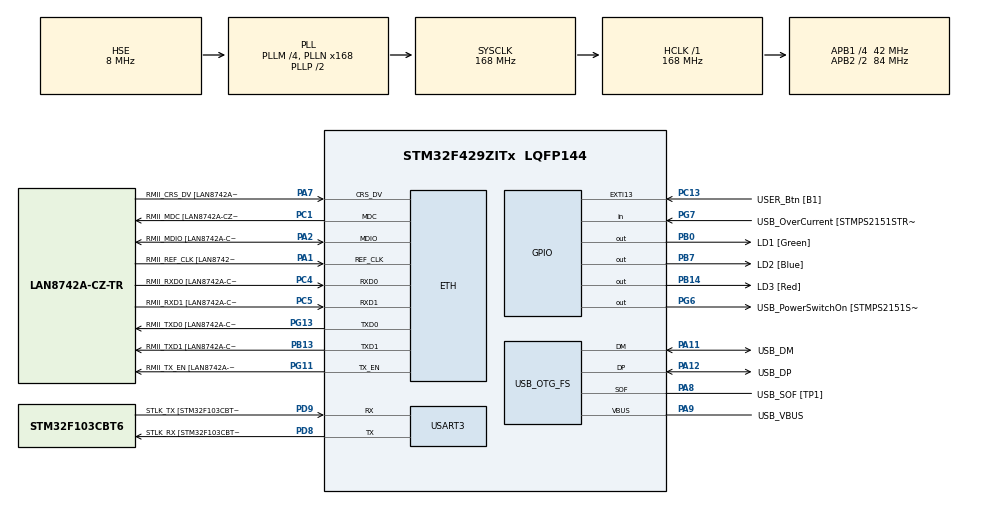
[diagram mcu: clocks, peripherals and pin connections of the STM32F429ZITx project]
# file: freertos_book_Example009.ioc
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ETH.MediaInterface=HAL_ETH_RMII_MODE
ETH.PHY_Name=LAN8742A_PHY_ADDRESS
ETH.PHY_Value=0
ETH.PhyAddress=0
FREERTOS.MEMORY_ALLOCATION=0
FREERTOS.Tasks01=defaultTask,0,128,StartDefaultTask,Default,NULL,Dynamic,NULL,NULL
FREERTOS.configUSE_NEWLIB_REENTRANT=1
Mcu.Family=STM32F4
Mcu.Name=STM32F429ZITx
Mcu.Package=LQFP144
NVIC.PriorityGroup=NVIC_PRIORITYGROUP_4
NVIC.TIM7_IRQn=true\:15\:0\:false\:false\:true\:false\:false\:true\:true
NVIC.TimeBase=TIM7_IRQn
NVIC.TimeBaseIP=TIM7
PA1.GPIO_Label=RMII_REF_CLK [LAN8742A-CZ-TR_REFCLK0]
PA1.Mode=RMII
PA1.Signal=ETH_REF_CLK
PA10.GPIO_Label=USB_ID
PA10.Signal=USB_OTG_FS_ID
PA11.GPIO_Label=USB_DM
PA11.Mode=Device_Only
PA11.Signal=USB_OTG_FS_DM
PA12.GPIO_Label=USB_DP
PA12.Mode=Device_Only
PA12.Signal=USB_OTG_FS_DP
PA13.GPIO_Label=TMS
PA13.Mode=Serial_Wire
PA13.Signal=SYS_JTMS-SWDIO
PA14.GPIO_Label=TCK
PA14.Mode=Serial_Wire
PA14.Signal=SYS_JTCK-SWCLK
PA2.GPIO_Label=RMII_MDIO [LAN8742A-CZ-TR_MDIO]
PA2.Mode=RMII
PA2.Signal=ETH_MDIO
PA7.GPIO_Label=RMII_CRS_DV [LAN8742A-CZ-TR_CRS_DV]
PA7.Mode=RMII
PA7.Signal=ETH_CRS_DV
PA8.GPIO_Label=USB_SOF [TP1]
PA8.Mode=Activate_SOF_FS
PA8.Signal=USB_OTG_FS_SOF
PA9.GPIO_Label=USB_VBUS
PA9.Mode=Activate_VBUS
PA9.Signal=USB_OTG_FS_VBUS
PB0.GPIO_Label=LD1 [Green]
PB0.Signal=GPIO_Output
PB13.GPIO_Label=RMII_TXD1 [LAN8742A-CZ-TR_TXD1]
PB13.Mode=RMII
PB13.Signal=ETH_TXD1
PB14.GPIO_Label=LD3 [Red]
PB14.Signal=GPIO_Output
PB7.GPIO_Label=LD2 [Blue]
PB7.Signal=GPIO_Output
PC1.GPIO_Label=RMII_MDC [LAN8742A-CZ-TR_MDC]
PC1.Mode=RMII
PC1.Signal=ETH_MDC
PC13.GPIO_Label=USER_Btn [B1]
PC13.Signal=GPXTI13
PC14/OSC32_IN.Mode=LSE-External-Oscillator
PC14/OSC32_IN.Signal=RCC_OSC32_IN
PC15/OSC32_OUT.Mode=LSE-External-Oscillator
PC15/OSC32_OUT.Signal=RCC_OSC32_OUT
PC4.GPIO_Label=RMII_RXD0 [LAN8742A-CZ-TR_RXD0]
PC4.Mode=RMII
PC4.Signal=ETH_RXD0
PC5.GPIO_Label=RMII_RXD1 [LAN8742A-CZ-TR_RXD1]
PC5.Mode=RMII
PC5.Signal=ETH_RXD1
PD8.GPIO_Label=STLK_RX [STM32F103CBT6_PA3]
PD8.Mode=Asynchronous
PD8.Signal=USART3_TX
PD9.GPIO_Label=STLK_TX [STM32F103CBT6_PA2]
PD9.Mode=Asynchronous
PD9.Signal=USART3_RX
PG11.GPIO_Label=RMII_TX_EN [LAN8742A-CZ-TR_TXEN]
PG11.Mode=RMII
PG11.Signal=ETH_TX_EN
PG13.GPIO_Label=RMII_TXD0 [LAN8742A-CZ-TR_TXD0]
PG13.Mode=RMII
PG13.Signal=ETH_TXD0
PG6.GPIO_Label=USB_PowerSwitchOn [STMPS2151STR_EN]
PG6.Signal=GPIO_Output
PG7.GPIO_Label=USB_OverCurrent [STMPS2151STR_FAULT]
PG7.Signal=GPIO_Input
PH0/OSC_IN.GPIO_Label=MCO [STM32F103CBT6_PA8]
PH0/OSC_IN.Mode=HSE-External-Clock-Source
PH0/OSC_IN.Signal=RCC_OSC_IN
PH1/OSC_OUT.Mode=HSE-External-Clock-Source
PH1/OSC_OUT.Signal=RCC_OSC_OUT
ProjectManager.HeapSize=0x200
ProjectManager.StackSize=0x400
ProjectManager.TargetToolchain=STM32CubeIDE
RCC.48MHZClocksFreq_Value=48000000
RCC.AHBFreq_Value=168000000
RCC.APB1CLKDivider=RCC_HCLK_DIV4
RCC.APB1Freq_Value=42000000
RCC.APB1TimFreq_Value=84000000
RCC.APB2CLKDivider=RCC_HCLK_DIV2
RCC.APB2Freq_Value=84000000
RCC.APB2TimCLKDivider=2
RCC.APB2TimFreq_Value=168000000
RCC.CortexFreq_Value=168000000
RCC.HCLKFreq_Value=168000000
RCC.HSE_VALUE=8000000
RCC.HSI_VALUE=16000000
RCC.PLLM=4
RCC.PLLMUL=RCC_PLL_MUL9
RCC.PLLN=168
RCC.PLLQ=7
RCC.PRESCALERUSB=RCC_USBCLKSOURCE_PLL_DIV1_5
RCC.SYSCLKFreq_VALUE=168000000
RCC.SYSCLKSource=RCC_SYSCLKSOURCE_PLLCLK
RCC.SYSCLKSourceVirtual=RCC_SYSCLKSOURCE_PLLCLK
RCC.USBFreq_Value=48000000
RCC.VCOOutputFreq_Value=336000000
USART3.VirtualMode=VM_ASYNC
USB_OTG_FS.VirtualMode=Device_Only
VP_FREERTOS_VS_CMSIS_V1.Mode=CMSIS_V1
VP_SYS_VS_tim7.Mode=TIM7
board=NUCLEO-F429ZI

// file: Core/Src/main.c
/* USER CODE BEGIN Header */
/**
  ******************************************************************************
  * @file           : main.c
  * @brief          : Main program body
  ******************************************************************************
  * @attention
  *
  * Copyright (c) 2022 STMicroelectronics.
  * All rights reserved.
  *
  * This software is licensed under terms that can be found in the LICENSE file
  * in the root directory of this software component.
  * If no LICENSE file comes with this software, it is provided AS-IS.
  *
  ******************************************************************************
  */
/* USER CODE END Header */
#include "main.h"
#include "string.h"
#include "cmsis_os.h"

/* USER CODE BEGIN Includes */
/* Standard includes. */
#include <stdio.h>
#include <stdlib.h>

/* Demo includes. */
#include "supportingFunctions.h"

/* USER CODE END Includes */

ETH_TxPacketConfig TxConfig;
ETH_DMADescTypeDef  DMARxDscrTab[ETH_RX_DESC_CNT]; /* Ethernet Rx DMA Descriptors */
ETH_DMADescTypeDef  DMATxDscrTab[ETH_TX_DESC_CNT]; /* Ethernet Tx DMA Descriptors */

ETH_HandleTypeDef heth;

UART_HandleTypeDef huart3;

PCD_HandleTypeDef hpcd_USB_OTG_FS;

osThreadId defaultTaskHandle;
/* USER CODE BEGIN PV */
TaskHandle_t xTask1Handle;
TaskHandle_t xTask2Handle;

/* USER CODE END PV */

void SystemClock_Config(void);
static void MX_GPIO_Init(void);
static void MX_ETH_Init(void);
static void MX_USART3_UART_Init(void);
static void MX_USB_OTG_FS_PCD_Init(void);
void StartDefaultTask(void const * argument);

/* USER CODE BEGIN PFP */
void vTask1( void *pvParameters );
void vTask2( void *pvParameters );

/* USER CODE END PFP */

/* USER CODE BEGIN 0 */
extern void initialise_monitor_handles(void);
/* USER CODE END 0 */

int main(void)
{

  /* USER CODE BEGIN 1 */
	initialise_monitor_handles();
	const char *pcTextForMain = "freertos_book_Example009 is running: Deleting tasks\r\n\n";

  /* USER CODE END 1 */

  /* MCU Configuration--------------------------------------------------------*/

  /* Reset of all peripherals, Initializes the Flash interface and the Systick. */
  HAL_Init();

  /* Configure the system clock */
  SystemClock_Config();

  /* Initialize all configured peripherals */
  MX_GPIO_Init();
  MX_ETH_Init();
  MX_USART3_UART_Init();
  MX_USB_OTG_FS_PCD_Init();
  /* USER CODE BEGIN 2 */
	/* Print out the name of this Example. */
	vPrintString( pcTextForMain );

  /* USER CODE END 2 */

  /* Create the thread(s) */
  /* definition and creation of defaultTask */
  osThreadDef(defaultTask, StartDefaultTask, osPriorityNormal, 0, 128);
  defaultTaskHandle = osThreadCreate(osThread(defaultTask), NULL);

  /* USER CODE BEGIN RTOS_THREADS */
  /* add threads, ... */
	BaseType_t ret;

	/* Task 1 thread at priority 1 */
	ret = xTaskCreate( vTask1,						/* Pointer to the function thats implement the task. */
					   "Task 1",					/* Text name for the task. This is to facilitate debugging only. */
					   (2 * configMINIMAL_STACK_SIZE),	/* Stack depth in words. 				*/
					   NULL,						/* We are not using the task parameter.		*/
					   (tskIDLE_PRIORITY + 1UL),	/* This task will run at priority 1. 		*/
		               NULL );          	        /* We are not using the task handle. */

	/* Check the task was created successfully. */
	configASSERT( ret == pdPASS );

  /* USER CODE END RTOS_THREADS */

  /* Start scheduler */
  osKernelStart();

  /* We should never get here as control is now taken by the scheduler */

  /* Infinite loop */
  while (1)
  {

  }
}

void SystemClock_Config(void)
{
  RCC_OscInitTypeDef RCC_OscInitStruct = {0};
  RCC_ClkInitTypeDef RCC_ClkInitStruct = {0};

  /** Configure the main internal regulator output voltage
  */
  __HAL_RCC_PWR_CLK_ENABLE();
  __HAL_PWR_VOLTAGESCALING_CONFIG(PWR_REGULATOR_VOLTAGE_SCALE1);

  /** Initializes the RCC Oscillators according to the specified parameters
  * in the RCC_OscInitTypeDef structure.
  */
  RCC_OscInitStruct.OscillatorType = RCC_OSCILLATORTYPE_HSE;
  RCC_OscInitStruct.HSEState = RCC_HSE_BYPASS;
  RCC_OscInitStruct.PLL.PLLState = RCC_PLL_ON;
  RCC_OscInitStruct.PLL.PLLSource = RCC_PLLSOURCE_HSE;
  RCC_OscInitStruct.PLL.PLLM = 4;
  RCC_OscInitStruct.PLL.PLLN = 168;
  RCC_OscInitStruct.PLL.PLLP = RCC_PLLP_DIV2;
  RCC_OscInitStruct.PLL.PLLQ = 7;
  if (HAL_RCC_OscConfig(&RCC_OscInitStruct) != HAL_OK)
  {
    Error_Handler();
  }

  /** Initializes the CPU, AHB and APB buses clocks
  */
  RCC_ClkInitStruct.ClockType = RCC_CLOCKTYPE_HCLK|RCC_CLOCKTYPE_SYSCLK
                              |RCC_CLOCKTYPE_PCLK1|RCC_CLOCKTYPE_PCLK2;
  RCC_ClkInitStruct.SYSCLKSource = RCC_SYSCLKSOURCE_PLLCLK;
  RCC_ClkInitStruct.AHBCLKDivider = RCC_SYSCLK_DIV1;
  RCC_ClkInitStruct.APB1CLKDivider = RCC_HCLK_DIV4;
  RCC_ClkInitStruct.APB2CLKDivider = RCC_HCLK_DIV2;

  if (HAL_RCC_ClockConfig(&RCC_ClkInitStruct, FLASH_LATENCY_5) != HAL_OK)
  {
    Error_Handler();
  }
}

static void MX_ETH_Init(void)
{

   static uint8_t MACAddr[6];

  heth.Instance = ETH;
  MACAddr[0] = 0x00;
  MACAddr[1] = 0x80;
  MACAddr[2] = 0xE1;
  MACAddr[3] = 0x00;
  MACAddr[4] = 0x00;
  MACAddr[5] = 0x00;
  heth.Init.MACAddr = &MACAddr[0];
  heth.Init.MediaInterface = HAL_ETH_RMII_MODE;
  heth.Init.TxDesc = DMATxDscrTab;
  heth.Init.RxDesc = DMARxDscrTab;
  heth.Init.RxBuffLen = 1524;

  if (HAL_ETH_Init(&heth) != HAL_OK)
  {
    Error_Handler();
  }

  memset(&TxConfig, 0 , sizeof(ETH_TxPacketConfig));
  TxConfig.Attributes = ETH_TX_PACKETS_FEATURES_CSUM | ETH_TX_PACKETS_FEATURES_CRCPAD;
  TxConfig.ChecksumCtrl = ETH_CHECKSUM_IPHDR_PAYLOAD_INSERT_PHDR_CALC;
  TxConfig.CRCPadCtrl = ETH_CRC_PAD_INSERT;

}

static void MX_USART3_UART_Init(void)
{

  huart3.Instance = USART3;
  huart3.Init.BaudRate = 115200;
  huart3.Init.WordLength = UART_WORDLENGTH_8B;
  huart3.Init.StopBits = UART_STOPBITS_1;
  huart3.Init.Parity = UART_PARITY_NONE;
  huart3.Init.Mode = UART_MODE_TX_RX;
  huart3.Init.HwFlowCtl = UART_HWCONTROL_NONE;
  huart3.Init.OverSampling = UART_OVERSAMPLING_16;
  if (HAL_UART_Init(&huart3) != HAL_OK)
  {
    Error_Handler();
  }

}

static void MX_USB_OTG_FS_PCD_Init(void)
{

  hpcd_USB_OTG_FS.Instance = USB_OTG_FS;
  hpcd_USB_OTG_FS.Init.dev_endpoints = 4;
  hpcd_USB_OTG_FS.Init.speed = PCD_SPEED_FULL;
  hpcd_USB_OTG_FS.Init.dma_enable = DISABLE;
  hpcd_USB_OTG_FS.Init.phy_itface = PCD_PHY_EMBEDDED;
  hpcd_USB_OTG_FS.Init.Sof_enable = ENABLE;
  hpcd_USB_OTG_FS.Init.low_power_enable = DISABLE;
  hpcd_USB_OTG_FS.Init.lpm_enable = DISABLE;
  hpcd_USB_OTG_FS.Init.vbus_sensing_enable = ENABLE;
  hpcd_USB_OTG_FS.Init.use_dedicated_ep1 = DISABLE;
  if (HAL_PCD_Init(&hpcd_USB_OTG_FS) != HAL_OK)
  {
    Error_Handler();
  }

}

static void MX_GPIO_Init(void)
{
  GPIO_InitTypeDef GPIO_InitStruct = {0};

  /* GPIO Ports Clock Enable */
  __HAL_RCC_GPIOC_CLK_ENABLE();
  __HAL_RCC_GPIOH_CLK_ENABLE();
  __HAL_RCC_GPIOA_CLK_ENABLE();
  __HAL_RCC_GPIOB_CLK_ENABLE();
  __HAL_RCC_GPIOD_CLK_ENABLE();
  __HAL_RCC_GPIOG_CLK_ENABLE();

  /*Configure GPIO pin Output Level */
  HAL_GPIO_WritePin(GPIOB, LD1_Pin|LD3_Pin|LD2_Pin, GPIO_PIN_RESET);

  /*Configure GPIO pin Output Level */
  HAL_GPIO_WritePin(USB_PowerSwitchOn_GPIO_Port, USB_PowerSwitchOn_Pin, GPIO_PIN_RESET);

  /*Configure GPIO pin : USER_Btn_Pin */
  GPIO_InitStruct.Pin = USER_Btn_Pin;
  GPIO_InitStruct.Mode = GPIO_MODE_IT_RISING;
  GPIO_InitStruct.Pull = GPIO_NOPULL;
  HAL_GPIO_Init(USER_Btn_GPIO_Port, &GPIO_InitStruct);

  /*Configure GPIO pins : LD1_Pin LD3_Pin LD2_Pin */
  GPIO_InitStruct.Pin = LD1_Pin|LD3_Pin|LD2_Pin;
  GPIO_InitStruct.Mode = GPIO_MODE_OUTPUT_PP;
  GPIO_InitStruct.Pull = GPIO_NOPULL;
  GPIO_InitStruct.Speed = GPIO_SPEED_FREQ_LOW;
  HAL_GPIO_Init(GPIOB, &GPIO_InitStruct);

  /*Configure GPIO pin : USB_PowerSwitchOn_Pin */
  GPIO_InitStruct.Pin = USB_PowerSwitchOn_Pin;
  GPIO_InitStruct.Mode = GPIO_MODE_OUTPUT_PP;
  GPIO_InitStruct.Pull = GPIO_NOPULL;
  GPIO_InitStruct.Speed = GPIO_SPEED_FREQ_LOW;
  HAL_GPIO_Init(USB_PowerSwitchOn_GPIO_Port, &GPIO_InitStruct);

  /*Configure GPIO pin : USB_OverCurrent_Pin */
  GPIO_InitStruct.Pin = USB_OverCurrent_Pin;
  GPIO_InitStruct.Mode = GPIO_MODE_INPUT;
  GPIO_InitStruct.Pull = GPIO_NOPULL;
  HAL_GPIO_Init(USB_OverCurrent_GPIO_Port, &GPIO_InitStruct);

}

/* USER CODE BEGIN 4 */

/* USER CODE BEGIN Header_vTask1 */
/**
  * @brief  Function implementing the Task1 thread.
  * @param  argument: Not used
  * @retval None
  */
/* USER CODE END Header_vTask1 */
void vTask1( void *pvParameters )
{
	BaseType_t ret;
	const TickType_t xDelay100ms = pdMS_TO_TICKS( 100UL );

	for( ;; )
	{
		/* Print out the name of this task. */
		vPrintString( "Task1 is running\r\n" );

		/* Create task 2 at a higher priority.  Again the task parameter is not
	       used so is set to NULL - BUT this time we want to obtain a handle to the
	       task so pass in the address of the xTask2Handle variable. */
		/* Task 2 thread at priority 2 */
		ret = xTaskCreate( vTask2,						/* Pointer to the function thats implement the task. */
			  	  	  	   "Task 2",					/* Text name for the task. This is to facilitate debugging only. */
						   (2 * configMINIMAL_STACK_SIZE),	/* Stack depth in words. 				*/
						   NULL,						/* We are not using the task parameter.		*/
						   (tskIDLE_PRIORITY + 2UL),	/* This task will run at priority 2. 		*/
						   &xTask2Handle );				/* We are using a variable as task handle.	*/

		/* Check the task was created successfully. */
		configASSERT( ret == pdPASS );

		/* Task2 has/had the higher priority, so for Task1 to reach here Task2
	       must have already executed and deleted itself.  Delay for 100
	       milliseconds. */
		vTaskDelay( xDelay100ms );

	}
}

/* USER CODE BEGIN Header_vTask2 */
/**
  * @brief  Function implementing the Task2 thread.
  * @param  argument: Not used
  * @retval None
  */
/* USER CODE END Header_vTask2 */
void vTask2( void *pvParameters )
{
	   /* Task2 does nothing but delete itself.  To do this it could call vTaskDelete()
	   using a NULL parameter, but instead and purely for demonstration purposes it
	   instead calls vTaskDelete() with its own task handle. */
	   vPrintString( "Task2 is running and about to delete itself\r\n" );
	   vTaskDelete( xTask2Handle );
}

/* USER CODE END 4 */

void StartDefaultTask(void const * argument)
{
  /* USER CODE BEGIN 5 */
  /* Infinite loop */
  for(;;)
  {
    osDelay(50000);
  }
  /* USER CODE END 5 */
}

void HAL_TIM_PeriodElapsedCallback(TIM_HandleTypeDef *htim)
{
  if (htim->Instance == TIM7) {
    HAL_IncTick();
  }
}

void Error_Handler(void)
{
  __disable_irq();
  while (1)
  {
  }
}
